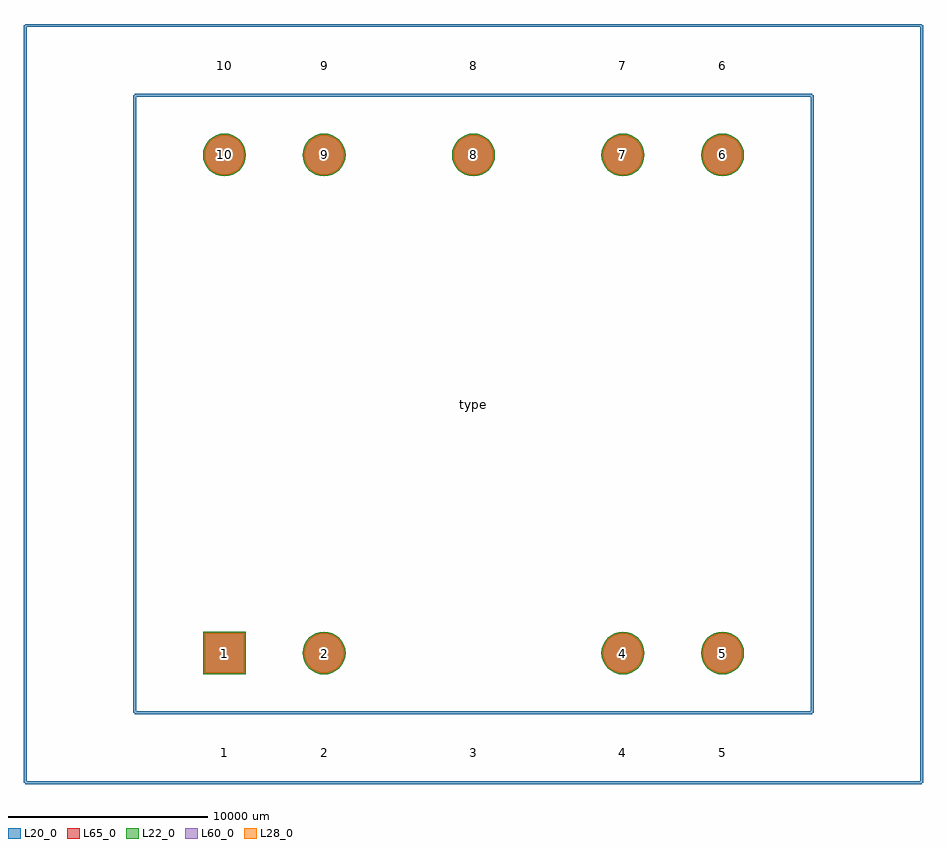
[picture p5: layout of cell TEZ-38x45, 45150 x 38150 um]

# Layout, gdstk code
import gdstk
lib = gdstk.Library(unit=1e-6, precision=1e-09)
def R(c, l, rs):  # rectangles x0, y0, x1, y1
    for r in rs: c.add(gdstk.rectangle(r[:2], r[2:], *l))
def P(c, l, *ps):  # polygons
    for p in ps: c.add(gdstk.Polygon(p, *l))
L20_0 = (20, 0)
L22_0 = (22, 0)
L28_0 = (28, 0)
L60_0 = (60, 0)
L65_0 = (65, 0)

tez_38x45 = lib.new_cell('TEZ-38x45')
R(tez_38x45, L22_0, [(-13575,-13575,-11425,-11425)])
P(tez_38x45, L22_0, [(-11425,12500),(-11445.656,12709.722),(-11506.83,12911.385),(-11606.17,13097.238),(-11739.86,13260.14),(-11902.762,13393.83),(-12088.615,13493.17),(-12290.278,13554.344),(-12500,13575),(-12709.722,13554.344),(-12911.385,13493.17),(-13097.238,13393.83),(-13260.14,13260.14),(-13393.83,13097.238),(-13493.17,12911.385),(-13554.344,12709.722),(-13575,12500),(-13554.344,12290.278),(-13493.17,12088.615),(-13393.83,11902.762),(-13260.14,11739.86),(-13097.238,11606.17),(-12911.385,11506.83),(-12709.722,11445.656),(-12500,11425),(-12290.278,11445.656),(-12088.615,11506.83),(-11902.762,11606.17),(-11739.86,11739.86),(-11606.17,11902.762),(-11506.83,12088.615),(-11445.656,12290.278)],
  [(-6425,12500),(-6445.656,12709.722),(-6506.83,12911.385),(-6606.17,13097.238),(-6739.86,13260.14),(-6902.762,13393.83),(-7088.615,13493.17),(-7290.278,13554.344),(-7500,13575),(-7709.722,13554.344),(-7911.385,13493.17),(-8097.238,13393.83),(-8260.14,13260.14),(-8393.83,13097.238),(-8493.17,12911.385),(-8554.344,12709.722),(-8575,12500),(-8554.344,12290.278),(-8493.17,12088.615),(-8393.83,11902.762),(-8260.14,11739.86),(-8097.238,11606.17),(-7911.385,11506.83),(-7709.722,11445.656),(-7500,11425),(-7290.278,11445.656),(-7088.615,11506.83),(-6902.762,11606.17),(-6739.86,11739.86),(-6606.17,11902.762),(-6506.83,12088.615),(-6445.656,12290.278)],
  [(1075,12500),(1054.344,12709.722),(993.17,12911.385),(893.83,13097.238),(760.14,13260.14),(597.238,13393.83),(411.385,13493.17),(209.722,13554.344),(0,13575),(-209.722,13554.344),(-411.385,13493.17),(-597.238,13393.83),(-760.14,13260.14),(-893.83,13097.238),(-993.17,12911.385),(-1054.344,12709.722),(-1075,12500),(-1054.344,12290.278),(-993.17,12088.615),(-893.83,11902.762),(-760.14,11739.86),(-597.238,11606.17),(-411.385,11506.83),(-209.722,11445.656),(0,11425),(209.722,11445.656),(411.385,11506.83),(597.238,11606.17),(760.14,11739.86),(893.83,11902.762),(993.17,12088.615),(1054.344,12290.278)],
  [(8575,12500),(8554.344,12709.722),(8493.17,12911.385),(8393.83,13097.238),(8260.14,13260.14),(8097.238,13393.83),(7911.385,13493.17),(7709.722,13554.344),(7500,13575),(7290.278,13554.344),(7088.615,13493.17),(6902.762,13393.83),(6739.86,13260.14),(6606.17,13097.238),(6506.83,12911.385),(6445.656,12709.722),(6425,12500),(6445.656,12290.278),(6506.83,12088.615),(6606.17,11902.762),(6739.86,11739.86),(6902.762,11606.17),(7088.615,11506.83),(7290.278,11445.656),(7500,11425),(7709.722,11445.656),(7911.385,11506.83),(8097.238,11606.17),(8260.14,11739.86),(8393.83,11902.762),(8493.17,12088.615),(8554.344,12290.278)],
  [(13575,12500),(13554.344,12709.722),(13493.17,12911.385),(13393.83,13097.238),(13260.14,13260.14),(13097.238,13393.83),(12911.385,13493.17),(12709.722,13554.344),(12500,13575),(12290.278,13554.344),(12088.615,13493.17),(11902.762,13393.83),(11739.86,13260.14),(11606.17,13097.238),(11506.83,12911.385),(11445.656,12709.722),(11425,12500),(11445.656,12290.278),(11506.83,12088.615),(11606.17,11902.762),(11739.86,11739.86),(11902.762,11606.17),(12088.615,11506.83),(12290.278,11445.656),(12500,11425),(12709.722,11445.656),(12911.385,11506.83),(13097.238,11606.17),(13260.14,11739.86),(13393.83,11902.762),(13493.17,12088.615),(13554.344,12290.278)],
  [(13575,-12500),(13554.344,-12290.278),(13493.17,-12088.615),(13393.83,-11902.762),(13260.14,-11739.86),(13097.238,-11606.17),(12911.385,-11506.83),(12709.722,-11445.656),(12500,-11425),(12290.278,-11445.656),(12088.615,-11506.83),(11902.762,-11606.17),(11739.86,-11739.86),(11606.17,-11902.762),(11506.83,-12088.615),(11445.656,-12290.278),(11425,-12500),(11445.656,-12709.722),(11506.83,-12911.385),(11606.17,-13097.238),(11739.86,-13260.14),(11902.762,-13393.83),(12088.615,-13493.17),(12290.278,-13554.344),(12500,-13575),(12709.722,-13554.344),(12911.385,-13493.17),(13097.238,-13393.83),(13260.14,-13260.14),(13393.83,-13097.238),(13493.17,-12911.385),(13554.344,-12709.722)],
  [(8575,-12500),(8554.344,-12290.278),(8493.17,-12088.615),(8393.83,-11902.762),(8260.14,-11739.86),(8097.238,-11606.17),(7911.385,-11506.83),(7709.722,-11445.656),(7500,-11425),(7290.278,-11445.656),(7088.615,-11506.83),(6902.762,-11606.17),(6739.86,-11739.86),(6606.17,-11902.762),(6506.83,-12088.615),(6445.656,-12290.278),(6425,-12500),(6445.656,-12709.722),(6506.83,-12911.385),(6606.17,-13097.238),(6739.86,-13260.14),(6902.762,-13393.83),(7088.615,-13493.17),(7290.278,-13554.344),(7500,-13575),(7709.722,-13554.344),(7911.385,-13493.17),(8097.238,-13393.83),(8260.14,-13260.14),(8393.83,-13097.238),(8493.17,-12911.385),(8554.344,-12709.722)],
  [(-6425,-12500),(-6445.656,-12290.278),(-6506.83,-12088.615),(-6606.17,-11902.762),(-6739.86,-11739.86),(-6902.762,-11606.17),(-7088.615,-11506.83),(-7290.278,-11445.656),(-7500,-11425),(-7709.722,-11445.656),(-7911.385,-11506.83),(-8097.238,-11606.17),(-8260.14,-11739.86),(-8393.83,-11902.762),(-8493.17,-12088.615),(-8554.344,-12290.278),(-8575,-12500),(-8554.344,-12709.722),(-8493.17,-12911.385),(-8393.83,-13097.238),(-8260.14,-13260.14),(-8097.238,-13393.83),(-7911.385,-13493.17),(-7709.722,-13554.344),(-7500,-13575),(-7290.278,-13554.344),(-7088.615,-13493.17),(-6902.762,-13393.83),(-6739.86,-13260.14),(-6606.17,-13097.238),(-6506.83,-12911.385),(-6445.656,-12709.722)])
R(tez_38x45, L28_0, [(-13500,-13500,-11500,-11500)])
P(tez_38x45, L28_0, [(-11500,12500),(-11519.215,12695.09),(-11576.12,12882.683),(-11668.53,13055.57),(-11792.893,13207.107),(-11944.43,13331.47),(-12117.317,13423.88),(-12304.91,13480.785),(-12500,13500),(-12695.09,13480.785),(-12882.683,13423.88),(-13055.57,13331.47),(-13207.107,13207.107),(-13331.47,13055.57),(-13423.88,12882.683),(-13480.785,12695.09),(-13500,12500),(-13480.785,12304.91),(-13423.88,12117.317),(-13331.47,11944.43),(-13207.107,11792.893),(-13055.57,11668.53),(-12882.683,11576.12),(-12695.09,11519.215),(-12500,11500),(-12304.91,11519.215),(-12117.317,11576.12),(-11944.43,11668.53),(-11792.893,11792.893),(-11668.53,11944.43),(-11576.12,12117.317),(-11519.215,12304.91)],
  [(-6500,12500),(-6519.215,12695.09),(-6576.12,12882.683),(-6668.53,13055.57),(-6792.893,13207.107),(-6944.43,13331.47),(-7117.317,13423.88),(-7304.91,13480.785),(-7500,13500),(-7695.09,13480.785),(-7882.683,13423.88),(-8055.57,13331.47),(-8207.107,13207.107),(-8331.47,13055.57),(-8423.88,12882.683),(-8480.785,12695.09),(-8500,12500),(-8480.785,12304.91),(-8423.88,12117.317),(-8331.47,11944.43),(-8207.107,11792.893),(-8055.57,11668.53),(-7882.683,11576.12),(-7695.09,11519.215),(-7500,11500),(-7304.91,11519.215),(-7117.317,11576.12),(-6944.43,11668.53),(-6792.893,11792.893),(-6668.53,11944.43),(-6576.12,12117.317),(-6519.215,12304.91)],
  [(1000,12500),(980.785,12695.09),(923.88,12882.683),(831.47,13055.57),(707.107,13207.107),(555.57,13331.47),(382.683,13423.88),(195.09,13480.785),(0,13500),(-195.09,13480.785),(-382.683,13423.88),(-555.57,13331.47),(-707.107,13207.107),(-831.47,13055.57),(-923.88,12882.683),(-980.785,12695.09),(-1000,12500),(-980.785,12304.91),(-923.88,12117.317),(-831.47,11944.43),(-707.107,11792.893),(-555.57,11668.53),(-382.683,11576.12),(-195.09,11519.215),(0,11500),(195.09,11519.215),(382.683,11576.12),(555.57,11668.53),(707.107,11792.893),(831.47,11944.43),(923.88,12117.317),(980.785,12304.91)],
  [(8500,12500),(8480.785,12695.09),(8423.88,12882.683),(8331.47,13055.57),(8207.107,13207.107),(8055.57,13331.47),(7882.683,13423.88),(7695.09,13480.785),(7500,13500),(7304.91,13480.785),(7117.317,13423.88),(6944.43,13331.47),(6792.893,13207.107),(6668.53,13055.57),(6576.12,12882.683),(6519.215,12695.09),(6500,12500),(6519.215,12304.91),(6576.12,12117.317),(6668.53,11944.43),(6792.893,11792.893),(6944.43,11668.53),(7117.317,11576.12),(7304.91,11519.215),(7500,11500),(7695.09,11519.215),(7882.683,11576.12),(8055.57,11668.53),(8207.107,11792.893),(8331.47,11944.43),(8423.88,12117.317),(8480.785,12304.91)],
  [(13500,12500),(13480.785,12695.09),(13423.88,12882.683),(13331.47,13055.57),(13207.107,13207.107),(13055.57,13331.47),(12882.683,13423.88),(12695.09,13480.785),(12500,13500),(12304.91,13480.785),(12117.317,13423.88),(11944.43,13331.47),(11792.893,13207.107),(11668.53,13055.57),(11576.12,12882.683),(11519.215,12695.09),(11500,12500),(11519.215,12304.91),(11576.12,12117.317),(11668.53,11944.43),(11792.893,11792.893),(11944.43,11668.53),(12117.317,11576.12),(12304.91,11519.215),(12500,11500),(12695.09,11519.215),(12882.683,11576.12),(13055.57,11668.53),(13207.107,11792.893),(13331.47,11944.43),(13423.88,12117.317),(13480.785,12304.91)],
  [(13500,-12500),(13480.785,-12304.91),(13423.88,-12117.317),(13331.47,-11944.43),(13207.107,-11792.893),(13055.57,-11668.53),(12882.683,-11576.12),(12695.09,-11519.215),(12500,-11500),(12304.91,-11519.215),(12117.317,-11576.12),(11944.43,-11668.53),(11792.893,-11792.893),(11668.53,-11944.43),(11576.12,-12117.317),(11519.215,-12304.91),(11500,-12500),(11519.215,-12695.09),(11576.12,-12882.683),(11668.53,-13055.57),(11792.893,-13207.107),(11944.43,-13331.47),(12117.317,-13423.88),(12304.91,-13480.785),(12500,-13500),(12695.09,-13480.785),(12882.683,-13423.88),(13055.57,-13331.47),(13207.107,-13207.107),(13331.47,-13055.57),(13423.88,-12882.683),(13480.785,-12695.09)],
  [(8500,-12500),(8480.785,-12304.91),(8423.88,-12117.317),(8331.47,-11944.43),(8207.107,-11792.893),(8055.57,-11668.53),(7882.683,-11576.12),(7695.09,-11519.215),(7500,-11500),(7304.91,-11519.215),(7117.317,-11576.12),(6944.43,-11668.53),(6792.893,-11792.893),(6668.53,-11944.43),(6576.12,-12117.317),(6519.215,-12304.91),(6500,-12500),(6519.215,-12695.09),(6576.12,-12882.683),(6668.53,-13055.57),(6792.893,-13207.107),(6944.43,-13331.47),(7117.317,-13423.88),(7304.91,-13480.785),(7500,-13500),(7695.09,-13480.785),(7882.683,-13423.88),(8055.57,-13331.47),(8207.107,-13207.107),(8331.47,-13055.57),(8423.88,-12882.683),(8480.785,-12695.09)],
  [(-6500,-12500),(-6519.215,-12304.91),(-6576.12,-12117.317),(-6668.53,-11944.43),(-6792.893,-11792.893),(-6944.43,-11668.53),(-7117.317,-11576.12),(-7304.91,-11519.215),(-7500,-11500),(-7695.09,-11519.215),(-7882.683,-11576.12),(-8055.57,-11668.53),(-8207.107,-11792.893),(-8331.47,-11944.43),(-8423.88,-12117.317),(-8480.785,-12304.91),(-8500,-12500),(-8480.785,-12695.09),(-8423.88,-12882.683),(-8331.47,-13055.57),(-8207.107,-13207.107),(-8055.57,-13331.47),(-7882.683,-13423.88),(-7695.09,-13480.785),(-7500,-13500),(-7304.91,-13480.785),(-7117.317,-13423.88),(-6944.43,-13331.47),(-6792.893,-13207.107),(-6668.53,-13055.57),(-6576.12,-12882.683),(-6519.215,-12695.09)])
R(tez_38x45, L60_0, [(-13500,-13500,-11500,-11500)])
P(tez_38x45, L60_0, [(-11500,12500),(-11519.215,12695.09),(-11576.12,12882.683),(-11668.53,13055.57),(-11792.893,13207.107),(-11944.43,13331.47),(-12117.317,13423.88),(-12304.91,13480.785),(-12500,13500),(-12695.09,13480.785),(-12882.683,13423.88),(-13055.57,13331.47),(-13207.107,13207.107),(-13331.47,13055.57),(-13423.88,12882.683),(-13480.785,12695.09),(-13500,12500),(-13480.785,12304.91),(-13423.88,12117.317),(-13331.47,11944.43),(-13207.107,11792.893),(-13055.57,11668.53),(-12882.683,11576.12),(-12695.09,11519.215),(-12500,11500),(-12304.91,11519.215),(-12117.317,11576.12),(-11944.43,11668.53),(-11792.893,11792.893),(-11668.53,11944.43),(-11576.12,12117.317),(-11519.215,12304.91)],
  [(-6500,12500),(-6519.215,12695.09),(-6576.12,12882.683),(-6668.53,13055.57),(-6792.893,13207.107),(-6944.43,13331.47),(-7117.317,13423.88),(-7304.91,13480.785),(-7500,13500),(-7695.09,13480.785),(-7882.683,13423.88),(-8055.57,13331.47),(-8207.107,13207.107),(-8331.47,13055.57),(-8423.88,12882.683),(-8480.785,12695.09),(-8500,12500),(-8480.785,12304.91),(-8423.88,12117.317),(-8331.47,11944.43),(-8207.107,11792.893),(-8055.57,11668.53),(-7882.683,11576.12),(-7695.09,11519.215),(-7500,11500),(-7304.91,11519.215),(-7117.317,11576.12),(-6944.43,11668.53),(-6792.893,11792.893),(-6668.53,11944.43),(-6576.12,12117.317),(-6519.215,12304.91)],
  [(1000,12500),(980.785,12695.09),(923.88,12882.683),(831.47,13055.57),(707.107,13207.107),(555.57,13331.47),(382.683,13423.88),(195.09,13480.785),(0,13500),(-195.09,13480.785),(-382.683,13423.88),(-555.57,13331.47),(-707.107,13207.107),(-831.47,13055.57),(-923.88,12882.683),(-980.785,12695.09),(-1000,12500),(-980.785,12304.91),(-923.88,12117.317),(-831.47,11944.43),(-707.107,11792.893),(-555.57,11668.53),(-382.683,11576.12),(-195.09,11519.215),(0,11500),(195.09,11519.215),(382.683,11576.12),(555.57,11668.53),(707.107,11792.893),(831.47,11944.43),(923.88,12117.317),(980.785,12304.91)],
  [(8500,12500),(8480.785,12695.09),(8423.88,12882.683),(8331.47,13055.57),(8207.107,13207.107),(8055.57,13331.47),(7882.683,13423.88),(7695.09,13480.785),(7500,13500),(7304.91,13480.785),(7117.317,13423.88),(6944.43,13331.47),(6792.893,13207.107),(6668.53,13055.57),(6576.12,12882.683),(6519.215,12695.09),(6500,12500),(6519.215,12304.91),(6576.12,12117.317),(6668.53,11944.43),(6792.893,11792.893),(6944.43,11668.53),(7117.317,11576.12),(7304.91,11519.215),(7500,11500),(7695.09,11519.215),(7882.683,11576.12),(8055.57,11668.53),(8207.107,11792.893),(8331.47,11944.43),(8423.88,12117.317),(8480.785,12304.91)],
  [(13500,12500),(13480.785,12695.09),(13423.88,12882.683),(13331.47,13055.57),(13207.107,13207.107),(13055.57,13331.47),(12882.683,13423.88),(12695.09,13480.785),(12500,13500),(12304.91,13480.785),(12117.317,13423.88),(11944.43,13331.47),(11792.893,13207.107),(11668.53,13055.57),(11576.12,12882.683),(11519.215,12695.09),(11500,12500),(11519.215,12304.91),(11576.12,12117.317),(11668.53,11944.43),(11792.893,11792.893),(11944.43,11668.53),(12117.317,11576.12),(12304.91,11519.215),(12500,11500),(12695.09,11519.215),(12882.683,11576.12),(13055.57,11668.53),(13207.107,11792.893),(13331.47,11944.43),(13423.88,12117.317),(13480.785,12304.91)],
  [(13500,-12500),(13480.785,-12304.91),(13423.88,-12117.317),(13331.47,-11944.43),(13207.107,-11792.893),(13055.57,-11668.53),(12882.683,-11576.12),(12695.09,-11519.215),(12500,-11500),(12304.91,-11519.215),(12117.317,-11576.12),(11944.43,-11668.53),(11792.893,-11792.893),(11668.53,-11944.43),(11576.12,-12117.317),(11519.215,-12304.91),(11500,-12500),(11519.215,-12695.09),(11576.12,-12882.683),(11668.53,-13055.57),(11792.893,-13207.107),(11944.43,-13331.47),(12117.317,-13423.88),(12304.91,-13480.785),(12500,-13500),(12695.09,-13480.785),(12882.683,-13423.88),(13055.57,-13331.47),(13207.107,-13207.107),(13331.47,-13055.57),(13423.88,-12882.683),(13480.785,-12695.09)],
  [(8500,-12500),(8480.785,-12304.91),(8423.88,-12117.317),(8331.47,-11944.43),(8207.107,-11792.893),(8055.57,-11668.53),(7882.683,-11576.12),(7695.09,-11519.215),(7500,-11500),(7304.91,-11519.215),(7117.317,-11576.12),(6944.43,-11668.53),(6792.893,-11792.893),(6668.53,-11944.43),(6576.12,-12117.317),(6519.215,-12304.91),(6500,-12500),(6519.215,-12695.09),(6576.12,-12882.683),(6668.53,-13055.57),(6792.893,-13207.107),(6944.43,-13331.47),(7117.317,-13423.88),(7304.91,-13480.785),(7500,-13500),(7695.09,-13480.785),(7882.683,-13423.88),(8055.57,-13331.47),(8207.107,-13207.107),(8331.47,-13055.57),(8423.88,-12882.683),(8480.785,-12695.09)],
  [(-6500,-12500),(-6519.215,-12304.91),(-6576.12,-12117.317),(-6668.53,-11944.43),(-6792.893,-11792.893),(-6944.43,-11668.53),(-7117.317,-11576.12),(-7304.91,-11519.215),(-7500,-11500),(-7695.09,-11519.215),(-7882.683,-11576.12),(-8055.57,-11668.53),(-8207.107,-11792.893),(-8331.47,-11944.43),(-8423.88,-12117.317),(-8480.785,-12304.91),(-8500,-12500),(-8480.785,-12695.09),(-8423.88,-12882.683),(-8331.47,-13055.57),(-8207.107,-13207.107),(-8055.57,-13331.47),(-7882.683,-13423.88),(-7695.09,-13480.785),(-7500,-13500),(-7304.91,-13480.785),(-7117.317,-13423.88),(-6944.43,-13331.47),(-6792.893,-13207.107),(-6668.53,-13055.57),(-6576.12,-12882.683),(-6519.215,-12695.09)])
R(tez_38x45, L65_0, [(-13575,-13575,-11425,-11425)])
P(tez_38x45, L65_0, [(-11425,12500),(-11445.656,12709.722),(-11506.83,12911.385),(-11606.17,13097.238),(-11739.86,13260.14),(-11902.762,13393.83),(-12088.615,13493.17),(-12290.278,13554.344),(-12500,13575),(-12709.722,13554.344),(-12911.385,13493.17),(-13097.238,13393.83),(-13260.14,13260.14),(-13393.83,13097.238),(-13493.17,12911.385),(-13554.344,12709.722),(-13575,12500),(-13554.344,12290.278),(-13493.17,12088.615),(-13393.83,11902.762),(-13260.14,11739.86),(-13097.238,11606.17),(-12911.385,11506.83),(-12709.722,11445.656),(-12500,11425),(-12290.278,11445.656),(-12088.615,11506.83),(-11902.762,11606.17),(-11739.86,11739.86),(-11606.17,11902.762),(-11506.83,12088.615),(-11445.656,12290.278)],
  [(-6425,12500),(-6445.656,12709.722),(-6506.83,12911.385),(-6606.17,13097.238),(-6739.86,13260.14),(-6902.762,13393.83),(-7088.615,13493.17),(-7290.278,13554.344),(-7500,13575),(-7709.722,13554.344),(-7911.385,13493.17),(-8097.238,13393.83),(-8260.14,13260.14),(-8393.83,13097.238),(-8493.17,12911.385),(-8554.344,12709.722),(-8575,12500),(-8554.344,12290.278),(-8493.17,12088.615),(-8393.83,11902.762),(-8260.14,11739.86),(-8097.238,11606.17),(-7911.385,11506.83),(-7709.722,11445.656),(-7500,11425),(-7290.278,11445.656),(-7088.615,11506.83),(-6902.762,11606.17),(-6739.86,11739.86),(-6606.17,11902.762),(-6506.83,12088.615),(-6445.656,12290.278)],
  [(1075,12500),(1054.344,12709.722),(993.17,12911.385),(893.83,13097.238),(760.14,13260.14),(597.238,13393.83),(411.385,13493.17),(209.722,13554.344),(0,13575),(-209.722,13554.344),(-411.385,13493.17),(-597.238,13393.83),(-760.14,13260.14),(-893.83,13097.238),(-993.17,12911.385),(-1054.344,12709.722),(-1075,12500),(-1054.344,12290.278),(-993.17,12088.615),(-893.83,11902.762),(-760.14,11739.86),(-597.238,11606.17),(-411.385,11506.83),(-209.722,11445.656),(0,11425),(209.722,11445.656),(411.385,11506.83),(597.238,11606.17),(760.14,11739.86),(893.83,11902.762),(993.17,12088.615),(1054.344,12290.278)],
  [(8575,12500),(8554.344,12709.722),(8493.17,12911.385),(8393.83,13097.238),(8260.14,13260.14),(8097.238,13393.83),(7911.385,13493.17),(7709.722,13554.344),(7500,13575),(7290.278,13554.344),(7088.615,13493.17),(6902.762,13393.83),(6739.86,13260.14),(6606.17,13097.238),(6506.83,12911.385),(6445.656,12709.722),(6425,12500),(6445.656,12290.278),(6506.83,12088.615),(6606.17,11902.762),(6739.86,11739.86),(6902.762,11606.17),(7088.615,11506.83),(7290.278,11445.656),(7500,11425),(7709.722,11445.656),(7911.385,11506.83),(8097.238,11606.17),(8260.14,11739.86),(8393.83,11902.762),(8493.17,12088.615),(8554.344,12290.278)],
  [(13575,12500),(13554.344,12709.722),(13493.17,12911.385),(13393.83,13097.238),(13260.14,13260.14),(13097.238,13393.83),(12911.385,13493.17),(12709.722,13554.344),(12500,13575),(12290.278,13554.344),(12088.615,13493.17),(11902.762,13393.83),(11739.86,13260.14),(11606.17,13097.238),(11506.83,12911.385),(11445.656,12709.722),(11425,12500),(11445.656,12290.278),(11506.83,12088.615),(11606.17,11902.762),(11739.86,11739.86),(11902.762,11606.17),(12088.615,11506.83),(12290.278,11445.656),(12500,11425),(12709.722,11445.656),(12911.385,11506.83),(13097.238,11606.17),(13260.14,11739.86),(13393.83,11902.762),(13493.17,12088.615),(13554.344,12290.278)],
  [(13575,-12500),(13554.344,-12290.278),(13493.17,-12088.615),(13393.83,-11902.762),(13260.14,-11739.86),(13097.238,-11606.17),(12911.385,-11506.83),(12709.722,-11445.656),(12500,-11425),(12290.278,-11445.656),(12088.615,-11506.83),(11902.762,-11606.17),(11739.86,-11739.86),(11606.17,-11902.762),(11506.83,-12088.615),(11445.656,-12290.278),(11425,-12500),(11445.656,-12709.722),(11506.83,-12911.385),(11606.17,-13097.238),(11739.86,-13260.14),(11902.762,-13393.83),(12088.615,-13493.17),(12290.278,-13554.344),(12500,-13575),(12709.722,-13554.344),(12911.385,-13493.17),(13097.238,-13393.83),(13260.14,-13260.14),(13393.83,-13097.238),(13493.17,-12911.385),(13554.344,-12709.722)],
  [(8575,-12500),(8554.344,-12290.278),(8493.17,-12088.615),(8393.83,-11902.762),(8260.14,-11739.86),(8097.238,-11606.17),(7911.385,-11506.83),(7709.722,-11445.656),(7500,-11425),(7290.278,-11445.656),(7088.615,-11506.83),(6902.762,-11606.17),(6739.86,-11739.86),(6606.17,-11902.762),(6506.83,-12088.615),(6445.656,-12290.278),(6425,-12500),(6445.656,-12709.722),(6506.83,-12911.385),(6606.17,-13097.238),(6739.86,-13260.14),(6902.762,-13393.83),(7088.615,-13493.17),(7290.278,-13554.344),(7500,-13575),(7709.722,-13554.344),(7911.385,-13493.17),(8097.238,-13393.83),(8260.14,-13260.14),(8393.83,-13097.238),(8493.17,-12911.385),(8554.344,-12709.722)],
  [(-6425,-12500),(-6445.656,-12290.278),(-6506.83,-12088.615),(-6606.17,-11902.762),(-6739.86,-11739.86),(-6902.762,-11606.17),(-7088.615,-11506.83),(-7290.278,-11445.656),(-7500,-11425),(-7709.722,-11445.656),(-7911.385,-11506.83),(-8097.238,-11606.17),(-8260.14,-11739.86),(-8393.83,-11902.762),(-8493.17,-12088.615),(-8554.344,-12290.278),(-8575,-12500),(-8554.344,-12709.722),(-8493.17,-12911.385),(-8393.83,-13097.238),(-8260.14,-13260.14),(-8097.238,-13393.83),(-7911.385,-13493.17),(-7709.722,-13554.344),(-7500,-13575),(-7290.278,-13554.344),(-7088.615,-13493.17),(-6902.762,-13393.83),(-6739.86,-13260.14),(-6606.17,-13097.238),(-6506.83,-12911.385),(-6445.656,-12709.722)])
tez_38x45.add(gdstk.FlexPath([(-22500,-19000),(-22500,19000)], 149.998, ends="flush", simple_path=True, layer=20, datatype=0))  # L20_0
tez_38x45.add(gdstk.FlexPath([(22500,-19000),(-22500,-19000)], 149.998, ends="flush", simple_path=True, layer=20, datatype=0))  # L20_0
tez_38x45.add(gdstk.FlexPath([(22500,19000),(22500,-19000)], 149.998, ends="flush", simple_path=True, layer=20, datatype=0))  # L20_0
tez_38x45.add(gdstk.FlexPath([(-22500,19000),(22500,19000)], 149.998, ends="flush", simple_path=True, layer=20, datatype=0))  # L20_0
tez_38x45.add(gdstk.FlexPath([(-17000,-15500),(-17000,15500)], 149.998, ends="flush", simple_path=True, layer=20, datatype=0))  # L20_0
tez_38x45.add(gdstk.FlexPath([(17000,-15500),(-17000,-15500)], 149.998, ends="flush", simple_path=True, layer=20, datatype=0))  # L20_0
tez_38x45.add(gdstk.FlexPath([(17000,15500),(17000,-15500)], 149.998, ends="flush", simple_path=True, layer=20, datatype=0))  # L20_0
tez_38x45.add(gdstk.FlexPath([(-17000,15500),(17000,15500)], 149.998, ends="flush", simple_path=True, layer=20, datatype=0))  # L20_0
tez_38x45.add(gdstk.Label('10', (-12500,12500), layer=28, texttype=0))
tez_38x45.add(gdstk.Label('9', (-7500,12500), layer=28, texttype=0))
tez_38x45.add(gdstk.Label('8', (0,12500), layer=28, texttype=0))
tez_38x45.add(gdstk.Label('7', (7500,12500), layer=28, texttype=0))
tez_38x45.add(gdstk.Label('6', (12500,12500), layer=28, texttype=0))
tez_38x45.add(gdstk.Label('5', (12500,-12500), layer=28, texttype=0))
tez_38x45.add(gdstk.Label('4', (7500,-12500), layer=28, texttype=0))
tez_38x45.add(gdstk.Label('2', (-7500,-12500), layer=28, texttype=0))
tez_38x45.add(gdstk.Label('1', (-12500,-12500), layer=28, texttype=0))
tez_38x45.add(gdstk.Label('1', (-12500,-17500), layer=9, texttype=0))
tez_38x45.add(gdstk.Label('2', (-7500,-17500), layer=9, texttype=0))
tez_38x45.add(gdstk.Label('3', (0,-17500), layer=9, texttype=0))
tez_38x45.add(gdstk.Label('4', (7500,-17500), layer=9, texttype=0))
tez_38x45.add(gdstk.Label('5', (12500,-17500), layer=9, texttype=0))
tez_38x45.add(gdstk.Label('6', (12500,17000), layer=9, texttype=0))
tez_38x45.add(gdstk.Label('7', (7500,17000), layer=9, texttype=0))
tez_38x45.add(gdstk.Label('8', (0,17000), layer=9, texttype=0))
tez_38x45.add(gdstk.Label('9', (-7500,17000), layer=9, texttype=0))
tez_38x45.add(gdstk.Label('10', (-12500,17000), layer=9, texttype=0))
tez_38x45.add(gdstk.Label('type', (0,0), layer=9, texttype=0))
tez_38x45.add(gdstk.Label('devicename', (0,20500), layer=9, texttype=0))

lib.write_gds('TEZ-38x45.gds')
